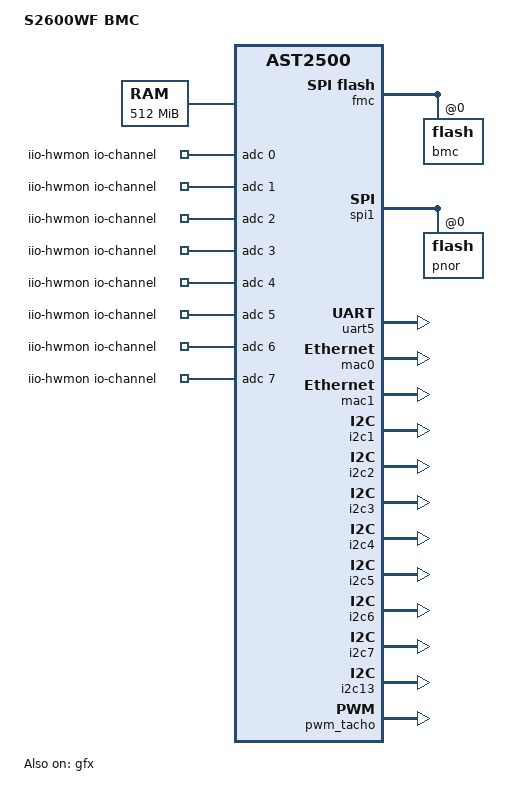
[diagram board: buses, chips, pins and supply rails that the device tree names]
// SPDX-License-Identifier: GPL-2.0
// Copyright (c) 2017 Intel Corporation
/dts-v1/;

#include "aspeed-g5.dtsi"

/ {
	model = "S2600WF BMC";
	compatible = "intel,s2600wf-bmc", "aspeed,ast2500";

	chosen {
		stdout-path = &uart5;
		bootargs = "earlyprintk";
	};

	memory@80000000 {
		reg = <0x80000000 0x20000000>;
	};

	reserved-memory {
		#address-cells = <1>;
		#size-cells = <1>;
		ranges;

		vga_memory: framebuffer@7f000000 {
			no-map;
			reg = <0x7f000000 0x01000000>;
		};
	};

	iio-hwmon {
		compatible = "iio-hwmon";
		io-channels = <&adc 0>, <&adc 1>, <&adc 2>, <&adc 3>,
			<&adc 4>, <&adc 5>, <&adc 6>, <&adc 7>,
			<&adc 8>, <&adc 9>, <&adc 10>, <&adc 11>,
			<&adc 12>, <&adc 13>, <&adc 14>, <&adc 15>;
	};

};

&fmc {
	status = "okay";
	flash@0 {
		status = "okay";
		m25p,fast-read;
		label = "bmc";
#include "openbmc-flash-layout.dtsi"
	};
};

&spi1 {
	status = "okay";
	pinctrl-names = "default";
	pinctrl-0 = <&pinctrl_spi1_default>;

	flash@0 {
		status = "okay";
		m25p,fast-read;
		label = "pnor";
	};
};

&uart5 {
	status = "okay";
};

&mac0 {
	status = "okay";

	pinctrl-names = "default";
	pinctrl-0 = <&pinctrl_rmii1_default>;
	clocks = <&syscon ASPEED_CLK_GATE_MAC1CLK>,
		 <&syscon ASPEED_CLK_MAC1RCLK>;
	clock-names = "MACCLK", "RCLK";
	use-ncsi;
};

&mac1 {
	status = "okay";

	pinctrl-names = "default";
	pinctrl-0 = <&pinctrl_rgmii2_default &pinctrl_mdio2_default>;
};

&i2c1 {
	status = "okay";
};

&i2c2 {
	status = "okay";
};

&i2c3 {
	status = "okay";
};

&i2c4 {
	status = "okay";
};

&i2c5 {
	status = "okay";
};

&i2c6 {
	status = "okay";
};

&i2c7 {
	status = "okay";
};

&i2c13 {
	status = "okay";
};

&gfx {
	status = "okay";
};

&pinctrl {
	aspeed,external-nodes = <&gfx &lhc>;
};

&pwm_tacho {
	status = "okay";
	pinctrl-names = "default";
	pinctrl-0 = <&pinctrl_pwm0_default &pinctrl_pwm1_default
			 &pinctrl_pwm2_default &pinctrl_pwm3_default
			 &pinctrl_pwm4_default &pinctrl_pwm5_default
			 &pinctrl_pwm6_default &pinctrl_pwm7_default>;
};
